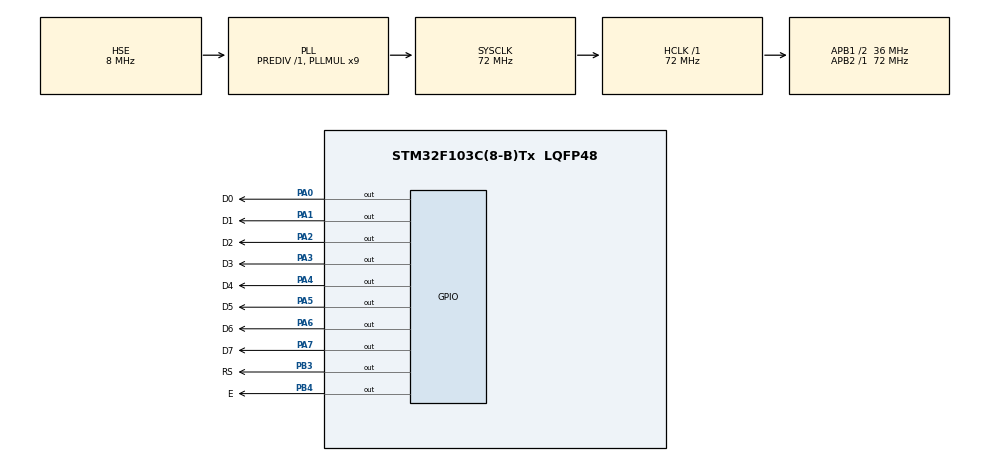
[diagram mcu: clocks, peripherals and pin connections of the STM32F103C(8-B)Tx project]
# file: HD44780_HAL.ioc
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Mcu.Family=STM32F1
Mcu.Name=STM32F103C(8-B)Tx
Mcu.Package=LQFP48
NVIC.PriorityGroup=NVIC_PRIORITYGROUP_4
PA0-WKUP.GPIO_Label=D0
PA0-WKUP.GPIO_Speed=GPIO_SPEED_FREQ_MEDIUM
PA0-WKUP.Signal=GPIO_Output
PA1.GPIO_Label=D1
PA1.GPIO_Speed=GPIO_SPEED_FREQ_MEDIUM
PA1.Signal=GPIO_Output
PA13.Mode=Serial_Wire
PA13.Signal=SYS_JTMS-SWDIO
PA14.Mode=Serial_Wire
PA14.Signal=SYS_JTCK-SWCLK
PA2.GPIO_Label=D2
PA2.GPIO_Speed=GPIO_SPEED_FREQ_MEDIUM
PA2.Signal=GPIO_Output
PA3.GPIO_Label=D3
PA3.GPIO_Speed=GPIO_SPEED_FREQ_MEDIUM
PA3.Signal=GPIO_Output
PA4.GPIO_Label=D4
PA4.GPIO_Speed=GPIO_SPEED_FREQ_MEDIUM
PA4.Signal=GPIO_Output
PA5.GPIO_Label=D5
PA5.GPIO_Speed=GPIO_SPEED_FREQ_MEDIUM
PA5.Signal=GPIO_Output
PA6.GPIO_Label=D6
PA6.GPIO_Speed=GPIO_SPEED_FREQ_MEDIUM
PA6.Signal=GPIO_Output
PA7.GPIO_Label=D7
PA7.GPIO_Speed=GPIO_SPEED_FREQ_MEDIUM
PA7.Signal=GPIO_Output
PB3.GPIO_Label=RS
PB3.GPIO_Speed=GPIO_SPEED_FREQ_MEDIUM
PB3.Signal=GPIO_Output
PB4.GPIO_Label=E
PB4.GPIO_Speed=GPIO_SPEED_FREQ_MEDIUM
PB4.Signal=GPIO_Output
PD0-OSC_IN.Mode=HSE-External-Oscillator
PD0-OSC_IN.Signal=RCC_OSC_IN
PD1-OSC_OUT.Mode=HSE-External-Oscillator
PD1-OSC_OUT.Signal=RCC_OSC_OUT
ProjectManager.HeapSize=0x200
ProjectManager.StackSize=0x400
ProjectManager.TargetToolchain=STM32CubeIDE
RCC.AHBFreq_Value=72000000
RCC.APB1CLKDivider=RCC_HCLK_DIV2
RCC.APB1Freq_Value=36000000
RCC.APB1TimFreq_Value=72000000
RCC.APB2Freq_Value=72000000
RCC.APB2TimFreq_Value=72000000
RCC.HCLKFreq_Value=72000000
RCC.PLLMUL=RCC_PLL_MUL9
RCC.PLLSourceVirtual=RCC_PLLSOURCE_HSE
RCC.SYSCLKFreq_VALUE=72000000
RCC.SYSCLKSource=RCC_SYSCLKSOURCE_PLLCLK
RCC.USBFreq_Value=72000000
board=custom

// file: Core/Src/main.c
/* USER CODE BEGIN Header */
/**
 ******************************************************************************
 * @file           : main.c
 * @brief          : Main program body
 ******************************************************************************
 * @attention
 *
 * Copyright (c) 2025 STMicroelectronics.
 * All rights reserved.
 *
 * This software is licensed under terms that can be found in the LICENSE file
 * in the root directory of this software component.
 * If no LICENSE file comes with this software, it is provided AS-IS.
 *
 ******************************************************************************
 */
/* USER CODE END Header */
#include "main.h"

void SystemClock_Config(void);
static void MX_GPIO_Init(void);

int main(void)
{

  /* MCU Configuration--------------------------------------------------------*/

  /* Reset of all peripherals, Initializes the Flash interface and the Systick. */
  HAL_Init();

  /* Configure the system clock */
  SystemClock_Config();

  /* Initialize all configured peripherals */
  MX_GPIO_Init();
  /* USER CODE BEGIN 2 */

	HD44780_init_8bits(RS_GPIO_Port, RS_Pin, E_Pin,
	D0_GPIO_Port, D0_Pin, D1_Pin, D2_Pin, D3_Pin,
	D4_GPIO_Port, D4_Pin, D5_Pin, D6_Pin, D7_Pin);

	HD44780_clear();

	HD44780_setCursor(0, 5);
	HD44780_printf("Fuck Yeah !");

	HD44780_setCursor(1, 2);
	HD44780_printf("8-bit connection");

	HAL_Delay(2000);

	HD44780_clear();

	HD44780_setCursor(0, 0);
	HD44780_printf("***** STRING 0 *****");
  HAL_Delay(1000);
	HD44780_setCursor(1, 0);
	HD44780_printf("***** STRING 1 *****");
  HAL_Delay(1000);
	HD44780_setCursor(2, 0);
	HD44780_printf("***** STRING 2 *****");
  HAL_Delay(1000);
	HD44780_setCursor(3, 0);
	HD44780_printf("***** STRING 3 *****");

	HAL_Delay(1000);
	HD44780_clear();

	HD44780_drawBigDigits(0, 0);
	HD44780_drawBigDigits(1, 4);
	HD44780_drawBigDigits(2, 8);
	HD44780_drawBigDigits(3, 12);
	HD44780_drawBigDigits(4, 16);

	HD44780_drawBigDigits(5, 20);
	HD44780_drawBigDigits(6, 24);
	HD44780_drawBigDigits(7, 28);
	HD44780_drawBigDigits(8, 32);
	HD44780_drawBigDigits(9, 36);

  /* USER CODE END 2 */

  /* Infinite loop */
	while (1) {

	}
}

void SystemClock_Config(void)
{
  RCC_OscInitTypeDef RCC_OscInitStruct = {0};
  RCC_ClkInitTypeDef RCC_ClkInitStruct = {0};

  /** Initializes the RCC Oscillators according to the specified parameters
  * in the RCC_OscInitTypeDef structure.
  */
  RCC_OscInitStruct.OscillatorType = RCC_OSCILLATORTYPE_HSE;
  RCC_OscInitStruct.HSEState = RCC_HSE_ON;
  RCC_OscInitStruct.HSEPredivValue = RCC_HSE_PREDIV_DIV1;
  RCC_OscInitStruct.HSIState = RCC_HSI_ON;
  RCC_OscInitStruct.PLL.PLLState = RCC_PLL_ON;
  RCC_OscInitStruct.PLL.PLLSource = RCC_PLLSOURCE_HSE;
  RCC_OscInitStruct.PLL.PLLMUL = RCC_PLL_MUL9;
  if (HAL_RCC_OscConfig(&RCC_OscInitStruct) != HAL_OK)
  {
    Error_Handler();
  }

  /** Initializes the CPU, AHB and APB buses clocks
  */
  RCC_ClkInitStruct.ClockType = RCC_CLOCKTYPE_HCLK|RCC_CLOCKTYPE_SYSCLK
                              |RCC_CLOCKTYPE_PCLK1|RCC_CLOCKTYPE_PCLK2;
  RCC_ClkInitStruct.SYSCLKSource = RCC_SYSCLKSOURCE_PLLCLK;
  RCC_ClkInitStruct.AHBCLKDivider = RCC_SYSCLK_DIV1;
  RCC_ClkInitStruct.APB1CLKDivider = RCC_HCLK_DIV2;
  RCC_ClkInitStruct.APB2CLKDivider = RCC_HCLK_DIV1;

  if (HAL_RCC_ClockConfig(&RCC_ClkInitStruct, FLASH_LATENCY_2) != HAL_OK)
  {
    Error_Handler();
  }
}

static void MX_GPIO_Init(void)
{
  GPIO_InitTypeDef GPIO_InitStruct = {0};

  /* GPIO Ports Clock Enable */
  __HAL_RCC_GPIOD_CLK_ENABLE();
  __HAL_RCC_GPIOA_CLK_ENABLE();
  __HAL_RCC_GPIOB_CLK_ENABLE();

  /*Configure GPIO pin Output Level */
  HAL_GPIO_WritePin(GPIOA, D0_Pin|D1_Pin|D2_Pin|D3_Pin
                          |D4_Pin|D5_Pin|D6_Pin|D7_Pin, GPIO_PIN_RESET);

  /*Configure GPIO pin Output Level */
  HAL_GPIO_WritePin(GPIOB, RS_Pin|E_Pin, GPIO_PIN_RESET);

  /*Configure GPIO pins : D0_Pin D1_Pin D2_Pin D3_Pin
                           D4_Pin D5_Pin D6_Pin D7_Pin */
  GPIO_InitStruct.Pin = D0_Pin|D1_Pin|D2_Pin|D3_Pin
                          |D4_Pin|D5_Pin|D6_Pin|D7_Pin;
  GPIO_InitStruct.Mode = GPIO_MODE_OUTPUT_PP;
  GPIO_InitStruct.Pull = GPIO_NOPULL;
  GPIO_InitStruct.Speed = GPIO_SPEED_FREQ_MEDIUM;
  HAL_GPIO_Init(GPIOA, &GPIO_InitStruct);

  /*Configure GPIO pins : RS_Pin E_Pin */
  GPIO_InitStruct.Pin = RS_Pin|E_Pin;
  GPIO_InitStruct.Mode = GPIO_MODE_OUTPUT_PP;
  GPIO_InitStruct.Pull = GPIO_NOPULL;
  GPIO_InitStruct.Speed = GPIO_SPEED_FREQ_MEDIUM;
  HAL_GPIO_Init(GPIOB, &GPIO_InitStruct);

}

void Error_Handler(void)
{
	__disable_irq();
	while (1) {
	}
}
